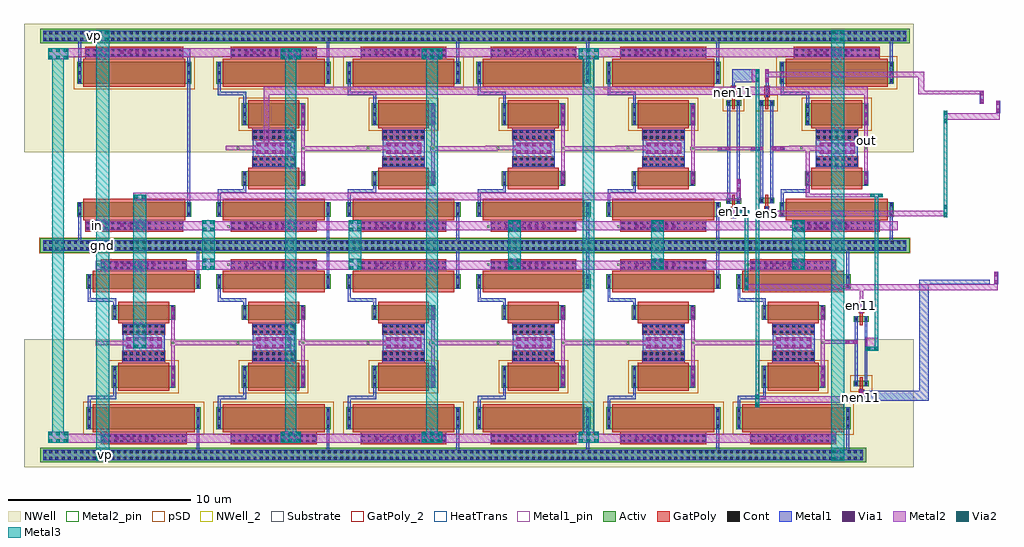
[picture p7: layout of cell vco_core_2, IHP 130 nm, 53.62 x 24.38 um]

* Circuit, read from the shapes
.subckt vco_core_2 en11 en5 gnd in nen11 nen5 out vp
XM1 vco_delay_cell_2_10/pgt in gnd gnd sg13_lv_nmos w=0.8u l=5.6u
XM2 gnd in n1 gnd sg13_lv_nmos w=0.8u l=5.6u
XM3 vco_delay_cell_2_10/in vco_delay_cell_2_12/in n1 gnd sg13_lv_nmos w=0.8u l=2.8u
XM4 gnd in n2 gnd sg13_lv_nmos w=0.8u l=5.6u
XM5 gnd in n3 gnd sg13_lv_nmos w=0.8u l=5.6u
XM6 vco_delay_cell_2_11/in vco_delay_cell_2_10/in n2 gnd sg13_lv_nmos w=0.8u l=2.8u
XM7 vco_delay_cell_2_16/in out n3 gnd sg13_lv_nmos w=0.8u l=2.8u
XM8 gnd in n4 gnd sg13_lv_nmos w=0.8u l=5.6u
XM9 gnd in n5 gnd sg13_lv_nmos w=0.8u l=5.6u
XM10 vco_delay_cell_2_9/in vco_delay_cell_2_11/in n4 gnd sg13_lv_nmos w=0.8u l=2.8u
XM11 vco_delay_cell_2_17/in vco_delay_cell_2_16/in n5 gnd sg13_lv_nmos w=0.8u l=2.8u
XM12 gnd in n6 gnd sg13_lv_nmos w=0.8u l=5.6u
XM13 gnd in n7 gnd sg13_lv_nmos w=0.8u l=5.6u
XM14 vco_delay_cell_2_8/in vco_delay_cell_2_9/in n6 gnd sg13_lv_nmos w=0.8u l=2.8u
XM15 vco_delay_cell_2_15/in vco_delay_cell_2_17/in n7 gnd sg13_lv_nmos w=0.8u l=2.8u
XM16 gnd in n8 gnd sg13_lv_nmos w=0.8u l=5.6u
XM17 gnd in n9 gnd sg13_lv_nmos w=0.8u l=5.6u
XM18 vco_delay_cell_2_18/in vco_delay_cell_2_8/in n8 gnd sg13_lv_nmos w=0.8u l=2.8u
XM19 vco_delay_cell_2_15/out vco_delay_cell_2_15/in n9 gnd sg13_lv_nmos w=0.8u l=2.8u
XM20 vco_delay_cell_2_12/in en11 vco_delay_cell_2_15/out gnd sg13_lv_nmos w=0.3u l=0.15u
XM21 gnd in n10 gnd sg13_lv_nmos w=0.8u l=5.6u
XM22 vco_delay_cell_2_14/in en5 vco_delay_cell_2_15/out gnd sg13_lv_nmos w=0.3u l=0.15u
XM23 vco_delay_cell_2_18/out vco_delay_cell_2_18/in n10 gnd sg13_lv_nmos w=0.8u l=2.8u
XM24 gnd in n11 gnd sg13_lv_nmos w=0.8u l=5.6u
XM25 out vco_delay_cell_2_14/in n11 gnd sg13_lv_nmos w=0.8u l=2.8u
XM26 vco_delay_cell_2_14/in en11 vco_delay_cell_2_18/out gnd sg13_lv_nmos w=0.3u l=0.15u
XM27 vco_delay_cell_2_10/pgt vco_delay_cell_2_10/pgt vp vp sg13_lv_pmos w=1.2u l=5.6u
XM28 vp vco_delay_cell_2_10/pgt n12 vp sg13_lv_pmos w=1.2u l=5.6u
XM29 vco_delay_cell_2_10/in vco_delay_cell_2_12/in n12 vp sg13_lv_pmos w=1.2u l=2.8u
XM30 vp vco_delay_cell_2_10/pgt n13 vp sg13_lv_pmos w=1.2u l=5.6u
XM31 vp vco_delay_cell_2_10/pgt n14 vp sg13_lv_pmos w=1.2u l=5.6u
XM32 vco_delay_cell_2_11/in vco_delay_cell_2_10/in n13 vp sg13_lv_pmos w=1.2u l=2.8u
XM33 vco_delay_cell_2_16/in out n14 vp sg13_lv_pmos w=1.2u l=2.8u
XM34 vp vco_delay_cell_2_10/pgt n15 vp sg13_lv_pmos w=1.2u l=5.6u
XM35 vp vco_delay_cell_2_10/pgt n16 vp sg13_lv_pmos w=1.2u l=5.6u
XM36 vco_delay_cell_2_9/in vco_delay_cell_2_11/in n15 vp sg13_lv_pmos w=1.2u l=2.8u
XM37 vco_delay_cell_2_17/in vco_delay_cell_2_16/in n16 vp sg13_lv_pmos w=1.2u l=2.8u
XM38 vp vco_delay_cell_2_10/pgt n17 vp sg13_lv_pmos w=1.2u l=5.6u
XM39 vp vco_delay_cell_2_10/pgt n18 vp sg13_lv_pmos w=1.2u l=5.6u
XM40 vco_delay_cell_2_8/in vco_delay_cell_2_9/in n17 vp sg13_lv_pmos w=1.2u l=2.8u
XM41 vco_delay_cell_2_15/in vco_delay_cell_2_17/in n18 vp sg13_lv_pmos w=1.2u l=2.8u
XM42 vp vco_delay_cell_2_10/pgt n19 vp sg13_lv_pmos w=1.2u l=5.6u
XM43 vp vco_delay_cell_2_10/pgt n20 vp sg13_lv_pmos w=1.2u l=5.6u
XM44 vco_delay_cell_2_18/in vco_delay_cell_2_8/in n19 vp sg13_lv_pmos w=1.2u l=2.8u
XM45 vco_delay_cell_2_15/out vco_delay_cell_2_15/in n20 vp sg13_lv_pmos w=1.2u l=2.8u
XM46 vco_delay_cell_2_12/in nen11 vco_delay_cell_2_15/out vp sg13_lv_pmos w=0.3u l=0.15u
XM47 vp vco_delay_cell_2_10/pgt n21 vp sg13_lv_pmos w=1.2u l=5.6u
XM48 vco_delay_cell_2_14/in nen5 vco_delay_cell_2_15/out vp sg13_lv_pmos w=0.3u l=0.15u
XM49 vco_delay_cell_2_18/out vco_delay_cell_2_18/in n21 vp sg13_lv_pmos w=1.2u l=2.8u
XM50 vp vco_delay_cell_2_10/pgt n22 vp sg13_lv_pmos w=1.2u l=5.6u
XM51 out vco_delay_cell_2_14/in n22 vp sg13_lv_pmos w=1.2u l=2.8u
XM52 vco_delay_cell_2_14/in nen11 vco_delay_cell_2_18/out vp sg13_lv_pmos w=0.3u l=0.15u
.ends

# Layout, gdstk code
from math import pi, radians
import gdstk
lib = gdstk.Library(unit=1e-6, precision=1e-09)
def R(c, l, rs):  # rectangles x0, y0, x1, y1
    for r in rs: c.add(gdstk.rectangle(r[:2], r[2:], *l))
def A(c, l, x, y, w, h, nx, ny, dx, dy):  # array of equal rectangles
    R(c, l, [(x+i*dx, y+j*dy, x+i*dx+w, y+j*dy+h) for i in range(nx) for j in range(ny)])
Activ = (1, 0)
GatPoly = (5, 0)
GatPoly_2 = (5, 2)
Cont = (6, 0)
Metal1 = (8, 0)
Metal1_pin = (8, 2)
Metal2 = (10, 0)
Metal2_pin = (10, 2)
pSD = (14, 0)
Via1 = (19, 0)
Via2 = (29, 0)
Metal3 = (30, 0)
NWell = (31, 0)
NWell_2 = (31, 2)
Substrate = (40, 0)
HeatTrans = (51, 0)

ptap1_14 = lib.new_cell('ptap1$14')
R(ptap1_14, Activ, [(0,0,2,0.78)])
A(ptap1_14, Cont, 0.07, 0.14, 0.16, 0.16, 6, 2, 0.34, 0.34)
R(ptap1_14, Metal1, [(0.07,0.09,1.93,0.69), (0.07,0.14,1.93,0.64)])
R(ptap1_14, Metal1_pin, [(0.07,0.14,1.93,0.64)])
R(ptap1_14, pSD, [(-0.03,-0.03,2.03,0.81)])
R(ptap1_14, Substrate, [(0,0,2,0.78)])
ptap1_14.add(gdstk.Label('sub!', (1,0.01), layer=63, texttype=0))
ptap1_14.add(gdstk.Label('sub!', (1,0.01), layer=40, texttype=0))

ptap1_3 = lib.new_cell('ptap1$3')
R(ptap1_3, Activ, [(0,0,9,0.78)])
A(ptap1_3, Cont, 0.17, 0.14, 0.16, 0.16, 26, 2, 0.34, 0.34)
R(ptap1_3, Metal1, [(0.17,0.09,8.83,0.69), (0.17,0.14,8.83,0.64)])
R(ptap1_3, Metal1_pin, [(0.17,0.14,8.83,0.64)])
R(ptap1_3, pSD, [(-0.03,-0.03,9.03,0.81)])
R(ptap1_3, Substrate, [(0,0,9,0.78)])
ptap1_3.add(gdstk.Label('sub!', (4.5,0.01), layer=63, texttype=0))
ptap1_3.add(gdstk.Label('sub!', (4.5,0.01), layer=40, texttype=0))

via_14 = lib.new_cell('Via$14')
R(via_14, Metal2, [(-0.35,-0.305,0.35,0.305)])
R(via_14, Via2, [(-0.3,-0.3,-0.11,-0.11), (0.11,-0.3,0.3,-0.11), (-0.3,0.11,-0.11,0.3), (0.11,0.11,0.3,0.3)])
R(via_14, Metal3, [(-0.35,-0.305,0.35,0.305)])

via_15_5 = lib.new_cell('Via$15$5')
R(via_15_5, GatPoly, [(-2.36,-0.32,2.36,0.32)])
A(via_15_5, Cont, -2.29, -0.25, 0.16, 0.16, 14, 2, 0.34, 0.34)
R(via_15_5, Metal1, [(-2.34,-0.25,2.34,0.25)])

via_7_10 = lib.new_cell('Via$7$10')
R(via_7_10, Metal1, [(-0.555,-0.105,0.555,0.105)])
R(via_7_10, Metal2, [(-0.555,-0.1,0.555,0.1)])
A(via_7_10, Via1, -0.505, -0.095, 0.19, 0.19, 3, 1, 0.41, 0)

pmos_2_8 = lib.new_cell('pmos$2$8')
R(pmos_2_8, Activ, [(0,0,0.3,0.3), (0,0,3.48,1.2), (3.18,0,3.48,0.3)])
R(pmos_2_8, GatPoly, [(0.34,-0.18,3.14,1.38), (0.34,-0.18,3.14,1.38)])
A(pmos_2_8, Cont, 0.07, 0.07, 0.16, 0.16, 1, 3, 0, 0.45)
A(pmos_2_8, Cont, 3.25, 0.07, 0.16, 0.16, 1, 3, 0, 0.45)
R(pmos_2_8, Metal1, [(0.07,0,0.23,1.2), (0.07,0,0.23,1.2), (3.25,0,3.41,1.2), (3.25,0,3.41,1.2)])
R(pmos_2_8, pSD, [(-0.18,-0.3,3.66,1.5)])
R(pmos_2_8, NWell, [(-0.31,-0.31,3.79,1.51)])
R(pmos_2_8, HeatTrans, [(0.34,-0.18,3.14,1.38)])
pmos_2_8.add(gdstk.Label('pmos', (1.74,0.6), layer=63, texttype=0))
pmos_2_8.add(gdstk.Label('pmos', (1.74,0.6), layer=51, texttype=0))

via_12_5 = lib.new_cell('Via$12$5')
R(via_12_5, GatPoly, [(-1.17,-0.32,1.17,0.32)])
A(via_12_5, Cont, -1.1, -0.25, 0.16, 0.16, 7, 2, 0.34, 0.34)
R(via_12_5, Metal1, [(-1.15,-0.25,1.15,0.25)])

ntap1_2_4 = lib.new_cell('ntap1$2$4')
R(ntap1_2_4, Activ, [(0,0,8,0.78)])
A(ntap1_2_4, Cont, 0.18, 0.14, 0.16, 0.16, 23, 2, 0.34, 0.34)
R(ntap1_2_4, Metal1, [(0.18,0.09,7.82,0.69)])
R(ntap1_2_4, Metal1_pin, [(0.18,0.09,7.82,0.69), (0.18,0.14,7.82,0.64)])
R(ntap1_2_4, NWell, [(-0.24,-0.24,8.24,1.02), (0,0,8,0.78)])
R(ntap1_2_4, NWell_2, [(0,0,8,0.78)])
ntap1_2_4.add(gdstk.Label('well', (4,0.01), layer=63, texttype=0))
ntap1_2_4.add(gdstk.Label('well', (4,0.01), layer=31, texttype=0))

via_8_9 = lib.new_cell('Via$8$9')
R(via_8_9, Metal1, [(-0.965,-0.31,0.965,0.31)])
R(via_8_9, Metal2, [(-0.965,-0.305,0.965,0.305)])
A(via_8_9, Via1, -0.915, -0.3, 0.19, 0.19, 5, 2, 0.41, 0.41)

nmos_5 = lib.new_cell('nmos$5')
R(nmos_5, Activ, [(0,0,0.3,0.3), (0,0,6.28,0.8), (5.98,0,6.28,0.3)])
R(nmos_5, GatPoly, [(0.34,-0.18,5.94,0.98)])
R(nmos_5, GatPoly_2, [(0.34,-0.18,5.94,0.98)])
R(nmos_5, Cont, [(0.07,0.07,0.23,0.23), (6.05,0.07,6.21,0.23), (0.07,0.57,0.23,0.73), (6.05,0.57,6.21,0.73)])
R(nmos_5, Metal1, [(0.07,0,0.23,0.8), (6.05,0,6.21,0.8)])
R(nmos_5, Metal1_pin, [(0.07,0,0.23,0.8), (6.05,0,6.21,0.8)])
R(nmos_5, HeatTrans, [(0.34,-0.18,5.94,0.98)])
nmos_5.add(gdstk.Label('nmos', (3.14,0.4), layer=63, texttype=0))
nmos_5.add(gdstk.Label('nmos', (3.14,0.4), layer=51, texttype=0))

pmos_6_3 = lib.new_cell('pmos$6$3')
R(pmos_6_3, Activ, [(0,0,0.3,0.3), (0,0,6.28,1.2), (5.98,0,6.28,0.3)])
R(pmos_6_3, GatPoly, [(0.34,-0.18,5.94,1.38), (0.34,-0.18,5.94,1.38)])
A(pmos_6_3, Cont, 0.07, 0.07, 0.16, 0.16, 1, 3, 0, 0.45)
A(pmos_6_3, Cont, 6.05, 0.07, 0.16, 0.16, 1, 3, 0, 0.45)
R(pmos_6_3, Metal1, [(0.07,0,0.23,1.2), (0.07,0,0.23,1.2), (6.05,0,6.21,1.2), (6.05,0,6.21,1.2)])
R(pmos_6_3, pSD, [(-0.18,-0.3,6.46,1.5)])
R(pmos_6_3, NWell, [(-0.31,-0.31,6.59,1.51)])
R(pmos_6_3, HeatTrans, [(0.34,-0.18,5.94,1.38)])
pmos_6_3.add(gdstk.Label('pmos', (3.14,0.6), layer=63, texttype=0))
pmos_6_3.add(gdstk.Label('pmos', (3.14,0.6), layer=51, texttype=0))

via_11_1 = lib.new_cell('Via$11$1')
R(via_11_1, Metal1, [(-0.35,-0.105,0.35,0.105)])
R(via_11_1, Metal2, [(-0.35,-0.1,0.35,0.1)])
R(via_11_1, Via1, [(-0.3,-0.095,-0.11,0.095), (0.11,-0.095,0.3,0.095)])

nmos_4_3 = lib.new_cell('nmos$4$3')
R(nmos_4_3, Activ, [(0,0,0.3,0.3), (0,0,3.48,0.8), (3.18,0,3.48,0.3)])
R(nmos_4_3, GatPoly, [(0.34,-0.18,3.14,0.98)])
R(nmos_4_3, GatPoly_2, [(0.34,-0.18,3.14,0.98)])
R(nmos_4_3, Cont, [(0.07,0.07,0.23,0.23), (3.25,0.07,3.41,0.23), (0.07,0.57,0.23,0.73), (3.25,0.57,3.41,0.73)])
R(nmos_4_3, Metal1, [(0.07,0,0.23,0.8), (3.25,0,3.41,0.8)])
R(nmos_4_3, Metal1_pin, [(0.07,0,0.23,0.8), (3.25,0,3.41,0.8)])
R(nmos_4_3, HeatTrans, [(0.34,-0.18,3.14,0.98)])
nmos_4_3.add(gdstk.Label('nmos', (1.74,0.4), layer=63, texttype=0))
nmos_4_3.add(gdstk.Label('nmos', (1.74,0.4), layer=51, texttype=0))

via_14_5_1 = lib.new_cell('Via$14$5$1')
R(via_14_5_1, Metal1, [(-1.17,-0.105,1.17,0.105)])
R(via_14_5_1, Metal2, [(-1.17,-0.1,1.17,0.1)])
A(via_14_5_1, Via1, -1.12, -0.095, 0.19, 0.19, 6, 1, 0.41, 0)

ptap1_2_4 = lib.new_cell('ptap1$2$4')
R(ptap1_2_4, Activ, [(0,0,8,0.78)])
A(ptap1_2_4, Cont, 0.18, 0.14, 0.16, 0.16, 23, 2, 0.34, 0.34)
R(ptap1_2_4, Metal1, [(0.18,0.09,7.82,0.69), (0.18,0.14,7.82,0.64)])
R(ptap1_2_4, Metal1_pin, [(0.18,0.14,7.82,0.64)])
R(ptap1_2_4, pSD, [(-0.03,-0.03,8.03,0.81)])
R(ptap1_2_4, Substrate, [(0,0,8,0.78)])
ptap1_2_4.add(gdstk.Label('sub!', (4,0.01), layer=63, texttype=0))
ptap1_2_4.add(gdstk.Label('sub!', (4,0.01), layer=40, texttype=0))

vco_delay_cell_2 = lib.new_cell('vco_delay_cell_2')
R(vco_delay_cell_2, Metal1, [(4.15,-4.85,4.31,-3.55), (0.02,-4.32,0.14,-3.82), (0.14,-4.32,0.48,-3.82), (-1.83,-2.77,-1.67,-2.195), (-1.83,-2.25,-0.43,-2.06), (-0.43,-2.25,-0.27,-1.87), (0.1,-0.82,2.4,1.21), (-0.43,2.13,-0.27,3.16), (-1.83,3.105,-1.67,3.97), (-1.825,3.105,-0.27,3.295), (4.15,4.71,4.31,6.27)])
R(vco_delay_cell_2, Metal1_pin, [(0.705,-5.08,0.835,-4.95), (0.335,6.315,0.465,6.445)])
R(vco_delay_cell_2, Metal2, [(-1.4,-4.32,-0.51,-3.82), (-0.52,-4.32,3.55,-3.82), (2.755,-1.76,2.955,0.57), (2.755,-0.16,2.955,1.48), (-1.38,0.07,0.95,0.32), (-1.45,5.19,3.55,5.69)])
R(vco_delay_cell_2, Metal2_pin, [(-1.31,-4.18,-1.18,-4.05), (2.795,0.13,2.925,0.26), (-0.775,0.135,-0.645,0.265), (-0.495,5.41,-0.365,5.54)])
R(vco_delay_cell_2, NWell, [(-3,0.195,5.48,7.04), (-1.56,0.29,2.98,5.31)])
vco_delay_cell_2.add(gdstk.Reference(via_15_5, (1.24,5.44)))
vco_delay_cell_2.add(gdstk.Reference(via_7_10, (2.855,2.015), rotation=pi/2))
vco_delay_cell_2.add(gdstk.Reference(pmos_2_8, (-0.5,1.46)))
vco_delay_cell_2.add(gdstk.Reference(via_15_5, (1.24,-4.07)))
vco_delay_cell_2.add(gdstk.Reference(via_12_5, (1.25,0.96)))
vco_delay_cell_2.add(gdstk.Reference(ntap1_2_4, (-2.76,5.97)))
vco_delay_cell_2.add(gdstk.Reference(via_12_5, (1.25,-0.57)))
vco_delay_cell_2.add(gdstk.Reference(via_8_9, (1.26,0.2)))
vco_delay_cell_2.add(gdstk.Reference(nmos_5, (-1.9,-3.57)))
vco_delay_cell_2.add(gdstk.Reference(pmos_6_3, (-1.9,3.74)))
vco_delay_cell_2.add(gdstk.Reference(via_11_1, (2.855,-1.42), rotation=pi/2))
vco_delay_cell_2.add(gdstk.Reference(nmos_4_3, (-0.5,-1.87)))
vco_delay_cell_2.add(gdstk.Reference(via_14_5_1, (0.8,-4.1)))
vco_delay_cell_2.add(gdstk.Reference(via_14_5_1, (0.8,5.44)))
vco_delay_cell_2.add(gdstk.Reference(ptap1_2_4, (-2.76,-5.54)))
vco_delay_cell_2.add(gdstk.Label('out', (2.86,0.18), layer=10, texttype=25))
vco_delay_cell_2.add(gdstk.Label('in', (-0.71,0.2), layer=10, texttype=25))
vco_delay_cell_2.add(gdstk.Label('ngt', (-1.24,-4.11), layer=10, texttype=25))
vco_delay_cell_2.add(gdstk.Label('pgt', (-0.43,5.48), layer=10, texttype=25))
vco_delay_cell_2.add(gdstk.Label('gnd', (0.77,-5.01), layer=8, texttype=25))
vco_delay_cell_2.add(gdstk.Label('vp', (0.4,6.38), layer=8, texttype=25))

ntap1_13 = lib.new_cell('ntap1$13')
R(ntap1_13, Activ, [(0,0,2,0.78)])
A(ntap1_13, Cont, 0.07, 0.14, 0.16, 0.16, 6, 2, 0.34, 0.34)
R(ntap1_13, Metal1, [(0.07,0.09,1.93,0.69)])
R(ntap1_13, Metal1_pin, [(0.07,0.09,1.93,0.69), (0.07,0.14,1.93,0.64)])
R(ntap1_13, NWell, [(-0.24,-0.24,2.24,1.02), (0,0,2,0.78)])
R(ntap1_13, NWell_2, [(0,0,2,0.78)])
ntap1_13.add(gdstk.Label('well', (1,0.01), layer=63, texttype=0))
ntap1_13.add(gdstk.Label('well', (1,0.01), layer=31, texttype=0))

ntap1_6_5 = lib.new_cell('ntap1$6$5')
R(ntap1_6_5, Activ, [(0,0,6,0.78)])
A(ntap1_6_5, Cont, 0.2, 0.14, 0.16, 0.16, 17, 2, 0.34, 0.34)
R(ntap1_6_5, Metal1, [(0.2,0.09,5.8,0.69)])
R(ntap1_6_5, Metal1_pin, [(0.2,0.09,5.8,0.69), (0.2,0.14,5.8,0.64)])
R(ntap1_6_5, NWell, [(-0.24,-0.24,6.24,1.02), (0,0,6,0.78)])
R(ntap1_6_5, NWell_2, [(0,0,6,0.78)])
ntap1_6_5.add(gdstk.Label('well', (3,0.01), layer=63, texttype=0))
ntap1_6_5.add(gdstk.Label('well', (3,0.01), layer=31, texttype=0))

via_15_10 = lib.new_cell('Via$15$10')
R(via_15_10, Metal2, [(-0.555,-0.305,0.555,0.305)])
A(via_15_10, Via2, -0.505, -0.3, 0.19, 0.19, 3, 2, 0.41, 0.41)
R(via_15_10, Metal3, [(-0.555,-0.305,0.555,0.305)])

via_19 = lib.new_cell('Via$19')
R(via_19, Metal1, [(-0.35,-0.31,0.35,0.31)])
R(via_19, Metal2, [(-0.35,-0.305,0.35,0.305)])
R(via_19, Via1, [(-0.3,-0.3,-0.11,-0.11), (0.11,-0.3,0.3,-0.11), (-0.3,0.11,-0.11,0.3), (0.11,0.11,0.3,0.3)])

via_16_11 = lib.new_cell('Via$16$11')
R(via_16_11, Metal1, [(-0.35,-0.105,0.35,0.105)])
R(via_16_11, Metal2, [(-0.35,-0.1,0.35,0.1)])
R(via_16_11, Via1, [(-0.3,-0.095,-0.11,0.095), (0.11,-0.095,0.3,0.095)])

via_18_7 = lib.new_cell('Via$18$7')
R(via_18_7, Metal2, [(-0.35,-0.1,0.35,0.1)])
R(via_18_7, Via2, [(-0.3,-0.095,-0.11,0.095), (0.11,-0.095,0.3,0.095)])
R(via_18_7, Metal3, [(-0.35,-0.1,0.35,0.1)])

nmos_14 = lib.new_cell('nmos$14')
R(nmos_14, Activ, [(0,0,0.3,0.3), (0,0,0.83,0.3), (0.53,0,0.83,0.3)])
R(nmos_14, GatPoly, [(0.34,-0.18,0.49,0.48)])
R(nmos_14, GatPoly_2, [(0.34,-0.18,0.49,0.48)])
R(nmos_14, Cont, [(0.07,0.07,0.23,0.23), (0.6,0.07,0.76,0.23)])
R(nmos_14, Metal1, [(0.07,0,0.23,0.3), (0.6,0,0.76,0.3)])
R(nmos_14, Metal1_pin, [(0.07,0,0.23,0.3), (0.6,0,0.76,0.3)])
R(nmos_14, HeatTrans, [(0.34,-0.18,0.49,0.48)])
nmos_14.add(gdstk.Label('nmos', (0.415,0.15), layer=63, texttype=0))
nmos_14.add(gdstk.Label('nmos', (0.415,0.15), layer=51, texttype=0))

pmos_20 = lib.new_cell('pmos$20')
R(pmos_20, Activ, [(0,0,0.3,0.3), (0,0,0.83,0.3), (0.53,0,0.83,0.3)])
R(pmos_20, GatPoly, [(0.34,-0.18,0.49,0.48), (0.34,-0.18,0.49,0.48)])
R(pmos_20, Cont, [(0.07,0.07,0.23,0.23), (0.6,0.07,0.76,0.23)])
R(pmos_20, Metal1, [(0.07,0,0.23,0.3), (0.07,0,0.23,0.3), (0.6,0,0.76,0.3), (0.6,0,0.76,0.3)])
R(pmos_20, pSD, [(-0.18,-0.3,1.01,0.6)])
R(pmos_20, NWell, [(-0.31,-0.31,1.14,0.61)])
R(pmos_20, HeatTrans, [(0.34,-0.18,0.49,0.48)])
pmos_20.add(gdstk.Label('pmos', (0.415,0.15), layer=63, texttype=0))
pmos_20.add(gdstk.Label('pmos', (0.415,0.15), layer=51, texttype=0))

via_17_1 = lib.new_cell('Via$17$1')
R(via_17_1, GatPoly, [(-0.15,-0.32,0.15,0.32)])
R(via_17_1, Cont, [(-0.08,-0.25,0.08,-0.09), (-0.08,0.09,0.08,0.25)])
R(via_17_1, Metal1, [(-0.08,-0.3,0.08,0.3)])

nmos_9_1 = lib.new_cell('nmos$9$1')
R(nmos_9_1, Activ, [(0,0,0.3,0.3), (0,0,6.28,0.8), (5.98,0,6.28,0.3)])
R(nmos_9_1, GatPoly, [(0.34,-0.18,5.94,0.98)])
R(nmos_9_1, GatPoly_2, [(0.34,-0.18,5.94,0.98)])
R(nmos_9_1, Cont, [(0.07,0.07,0.23,0.23), (6.05,0.07,6.21,0.23), (0.07,0.57,0.23,0.73), (6.05,0.57,6.21,0.73)])
R(nmos_9_1, Metal1, [(0.07,0,0.23,0.8), (6.05,0,6.21,0.8)])
R(nmos_9_1, Metal1_pin, [(0.07,0,0.23,0.8), (6.05,0,6.21,0.8)])
R(nmos_9_1, HeatTrans, [(0.34,-0.18,5.94,0.98)])
nmos_9_1.add(gdstk.Label('nmos', (3.14,0.4), layer=63, texttype=0))
nmos_9_1.add(gdstk.Label('nmos', (3.14,0.4), layer=51, texttype=0))

via_73 = lib.new_cell('Via$73')
R(via_73, GatPoly, [(-2.7,-0.32,2.7,0.32)])
A(via_73, Cont, -2.63, -0.25, 0.16, 0.16, 16, 2, 0.34, 0.34)
R(via_73, Metal1, [(-2.68,-0.25,2.68,0.25)])

via_12_12 = lib.new_cell('Via$12$12')
R(via_12_12, Metal1, [(-0.76,-0.105,0.76,0.105)])
R(via_12_12, Metal2, [(-0.76,-0.1,0.76,0.1)])
A(via_12_12, Via1, -0.71, -0.095, 0.19, 0.19, 4, 1, 0.41, 0)

pmos_3_5 = lib.new_cell('pmos$3$5')
R(pmos_3_5, Activ, [(0,0,0.3,0.3), (0,0,6.28,1.2), (5.98,0,6.28,0.3)])
R(pmos_3_5, GatPoly, [(0.34,-0.18,5.94,1.38), (0.34,-0.18,5.94,1.38)])
A(pmos_3_5, Cont, 0.07, 0.07, 0.16, 0.16, 1, 3, 0, 0.45)
A(pmos_3_5, Cont, 6.05, 0.07, 0.16, 0.16, 1, 3, 0, 0.45)
R(pmos_3_5, Metal1, [(0.07,0,0.23,1.2), (0.07,0,0.23,1.2), (6.05,0,6.21,1.2), (6.05,0,6.21,1.2)])
R(pmos_3_5, pSD, [(-0.18,-0.3,6.46,1.5)])
R(pmos_3_5, NWell, [(-0.31,-0.31,6.59,1.51)])
R(pmos_3_5, HeatTrans, [(0.34,-0.18,5.94,1.38)])
pmos_3_5.add(gdstk.Label('pmos', (3.14,0.6), layer=63, texttype=0))
pmos_3_5.add(gdstk.Label('pmos', (3.14,0.6), layer=51, texttype=0))

ntap1_5 = lib.new_cell('ntap1$5')
R(ntap1_5, Activ, [(0,0,9,0.78)])
A(ntap1_5, Cont, 0.17, 0.14, 0.16, 0.16, 26, 2, 0.34, 0.34)
R(ntap1_5, Metal1, [(0.17,0.09,8.83,0.69)])
R(ntap1_5, Metal1_pin, [(0.17,0.09,8.83,0.69), (0.17,0.14,8.83,0.64)])
R(ntap1_5, NWell, [(-0.24,-0.24,9.24,1.02), (0,0,9,0.78)])
R(ntap1_5, NWell_2, [(0,0,9,0.78)])
ntap1_5.add(gdstk.Label('well', (4.5,0.01), layer=63, texttype=0))
ntap1_5.add(gdstk.Label('well', (4.5,0.01), layer=31, texttype=0))

vco_core_2 = lib.new_cell('vco_core_2')
R(vco_core_2, Metal1, [(32.435,-14.055,36.215,-13.51), (35.69,-13.915,36.215,-7.395), (32.15,-13.1,32.31,-9.56), (32.68,-13.1,32.84,-9.56), (36.03,-7.645,39.57,-7.395), (-10.51,-5.43,-10.35,-3.9), (-4.53,-3.29,-4.37,4.19), (25.67,-3.15,25.83,2.22), (25.14,-3.145,25.3,2.22), (26.96,-3.13,27.12,2.22), (27.49,-3.13,27.65,2.22), (27.245,2.875,27.405,3.755), (25.4,3.055,25.56,3.665), (25.4,3.45,26.685,4.15), (-10.51,4.335,-10.35,5.995), (-4.53,4.395,-4.37,5.045), (-4.76,4.825,-4.37,5.325)])
R(vco_core_2, Metal1_pin, [(-9.075,-17.045,-8.945,-16.915), (32.445,-13.915,32.575,-13.785), (32.445,-8.86,32.575,-8.73), (-9.235,-5.605,-9.105,-5.475), (-9.235,-5.605,-9.105,-5.475), (27.27,-3.82,27.4,-3.69), (25.45,-3.72,25.58,-3.59), (25.42,2.8,25.55,2.93), (27.26,2.91,27.39,3.04), (-9.685,5.93,-9.555,6.06), (-9.685,5.93,-9.555,6.06)])
R(vco_core_2, Metal2, [(-11.97,-16.36,-9.46,-15.86), (-4.665,-16.36,30.77,-15.86), (4.11,-16.36,6.21,-15.86), (26.69,-14.15,28.56,-13.8), (28.56,-14.15,32.615,-13.8), (32.74,-11.09,33.44,-10.58), (-5.45,-10.99,-2.4,-10.74), (1.6,-10.99,5.33,-10.74), (8.76,-10.99,12.49,-10.74), (16.175,-10.99,20.1,-10.74), (23.145,-10.99,26.83,-10.74), (30.285,-10.93,32.28,-10.72), (30.285,-10.92,31.96,-10.72), (32.415,-9.21,32.615,-7.97), (26.09,-7.97,32.625,-7.66), (32.45,-7.97,40.01,-7.66), (-5.12,-6.85,30.3,-6.35), (-10.12,-4.69,-4.76,-4.19), (-5.12,-4.69,34.5,-4.19), (27.325,-3.91,37.135,-3.62), (25.565,-3.775,26.17,-3.575), (-7.49,-3.045,25.865,-2.63), (29.89,-2.87,33.68,-2.67), (25.665,-2.86,25.865,-2.59), (29.46,-0.9,29.66,-0.06), (1.72,-0.31,6.11,-0.06), (8.81,-0.31,12.54,-0.06), (16.005,-0.31,20.01,-0.06), (27.64,-0.31,30.87,-0.06), (23.09,-0.3,25.545,-0.1), (23.715,-0.3,26.825,-0.1), (-0.34,-0.105,-0.02,3.09), (37.125,1.39,40.115,1.74), (32.665,2.15,32.865,3.21), (-0.34,2.77,32.7,3.21), (35.64,2.785,35.95,4.035), (35.745,2.785,39.225,2.985), (26.495,3.45,26.89,4.15), (27.405,3.73,35.95,4.035), (-4.79,4.82,33.49,5.32), (4.11,4.82,6.21,5.32), (-11.97,4.825,-9.87,5.325), (-10.12,4.825,-4.76,5.325)])
R(vco_core_2, Metal2_pin, [(-9.515,-4.505,-9.385,-4.375), (-9.515,-4.505,-9.385,-4.375), (32.705,0.165,32.835,0.295)])
R(vco_core_2, Metal3, [(-9.53,-17.085,-8.83,5.975), (30.855,-17.085,31.555,5.975), (0.84,-16.225,1.47,5.18), (-11.935,-16.205,-11.305,5.18), (8.6,-16.155,9.23,5.18), (17.21,-16.125,17.84,5.18), (26.69,-14.395,26.89,3.595), (-7.49,-11.16,-6.79,-2.93), (26.09,-7.415,26.29,-3.715), (-3.72,-6.66,-3.02,-4.35), (4.34,-6.66,5.04,-4.35), (13.1,-6.66,13.8,-4.35), (20.96,-6.66,21.66,-4.35), (28.7,-6.66,29.4,-4.35), (37.035,-3.89,37.235,1.545)])
R(vco_core_2, NWell, [(-13.5,-17.71,-8.91,-10.66), (-8.91,-17.71,35.37,-10.66), (-13.485,-0.385,35.39,6.67), (29.56,-0.01,34.44,6.67)])
vco_core_2.add(gdstk.FlexPath([(29.89,-2.77),(29.56,-2.77),(29.56,-0.73),(29.6,-0.73)], 0.2, ends="flush", simple_path=True, layer=10, datatype=0))  # Metal2
vco_core_2.add(gdstk.FlexPath([(33.33,-2.77),(33.33,-11.19)], 0.2, ends="flush", simple_path=True, layer=30, datatype=0))  # Metal3
vco_core_2.add(gdstk.Reference(ptap1_14, (2.78,-5.91)))
vco_core_2.add(gdstk.Reference(ptap1_14, (9.92,-5.91)))
vco_core_2.add(gdstk.Reference(ptap1_14, (17.4,-5.91)))
vco_core_2.add(gdstk.Reference(ptap1_14, (24.2,-5.91)))
vco_core_2.add(gdstk.Reference(ptap1_14, (-4.7,-5.91)))
vco_core_2.add(gdstk.Reference(ptap1_3, (-12.62,-5.91)))
vco_core_2.add(gdstk.Reference(via_14, (13.45,-4.43)))
vco_core_2.add(gdstk.Reference(via_14, (13.45,-6.55)))
vco_core_2.add(gdstk.Reference(vco_delay_cell_2, (20.39,-10.67), x_reflection=True))
vco_core_2.add(gdstk.Reference(vco_delay_cell_2, (13.25,-10.67), x_reflection=True))
vco_core_2.add(gdstk.Reference(vco_delay_cell_2, (-1.03,-10.67), x_reflection=True))
vco_core_2.add(gdstk.Reference(vco_delay_cell_2, (6.11,-10.67), x_reflection=True))
vco_core_2.add(gdstk.Reference(vco_delay_cell_2, (-8.17,-10.67), x_reflection=True))
vco_core_2.add(gdstk.Reference(vco_delay_cell_2, (-1.03,-0.37)))
vco_core_2.add(gdstk.Reference(vco_delay_cell_2, (29.91,-0.37)))
vco_core_2.add(gdstk.Reference(vco_delay_cell_2, (20.39,-0.37)))
vco_core_2.add(gdstk.Reference(vco_delay_cell_2, (6.11,-0.37)))
vco_core_2.add(gdstk.Reference(vco_delay_cell_2, (13.25,-0.37)))
vco_core_2.add(gdstk.Reference(vco_delay_cell_2, (27.53,-10.67), x_reflection=True))
vco_core_2.add(gdstk.Reference(ntap1_13, (17.4,5.6)))
vco_core_2.add(gdstk.Reference(ntap1_6_5, (24.07,5.6)))
vco_core_2.add(gdstk.Reference(via_14, (21.31,-4.43)))
vco_core_2.add(gdstk.Reference(via_14, (29.05,-4.43)))
vco_core_2.add(gdstk.Reference(via_15_10, (17.52,5.015)))
vco_core_2.add(gdstk.Reference(via_14, (31.205,6)))
vco_core_2.add(gdstk.Reference(via_19, (31.205,6)))
vco_core_2.add(gdstk.Reference(via_16_11, (25.585,-3.67), rotation=pi))
vco_core_2.add(gdstk.Reference(via_18_7, (25.995,-3.675), rotation=pi))
vco_core_2.add(gdstk.Reference(via_16_11, (27.23,-3.745), rotation=pi))
vco_core_2.add(gdstk.Reference(via_16_11, (27.32,3.805), rotation=pi/2))
vco_core_2.add(gdstk.Reference(via_18_7, (37.135,-3.62), rotation=pi/2))
vco_core_2.add(gdstk.Reference(via_18_7, (37.135,1.545), rotation=pi/2))
vco_core_2.add(gdstk.Reference(via_16_11, (40.015,2.09), rotation=pi/2))
vco_core_2.add(gdstk.Reference(via_16_11, (39.125,2.62), rotation=pi/2))
vco_core_2.add(gdstk.Reference(via_16_11, (26.79,3.8), rotation=pi/2))
vco_core_2.add(gdstk.Reference(via_18_7, (26.79,3.8), rotation=pi/2))
vco_core_2.add(gdstk.Reference(nmos_14, (25.07,-3.22)))
vco_core_2.add(gdstk.Reference(pmos_20, (25.07,2.15)))
vco_core_2.add(gdstk.Reference(nmos_14, (26.89,-3.2)))
vco_core_2.add(gdstk.Reference(via_16_11, (24.95,-0.2)))
vco_core_2.add(gdstk.Reference(via_16_11, (26.77,-0.2)))
vco_core_2.add(gdstk.Reference(via_17_1, (25.485,-3.71)))
vco_core_2.add(gdstk.Reference(via_17_1, (27.305,-3.685)))
vco_core_2.add(gdstk.Reference(via_17_1, (25.48,2.925)))
vco_core_2.add(gdstk.Reference(via_17_1, (27.32,2.94)))
vco_core_2.add(gdstk.Reference(via_16_11, (25.765,-2.24), rotation=pi/2))
vco_core_2.add(gdstk.Reference(pmos_20, (26.89,2.15)))
vco_core_2.add(gdstk.Reference(via_18_7, (33.33,-2.77)))
vco_core_2.add(gdstk.Reference(via_16_11, (27.94,-0.18)))
vco_core_2.add(gdstk.Reference(via_14, (4.69,-4.43)))
vco_core_2.add(gdstk.Reference(via_15_10, (1.15,5.015)))
vco_core_2.add(gdstk.Reference(nmos_9_1, (-10.58,-3.94)))
vco_core_2.add(gdstk.Reference(via_18_7, (-7.14,-2.83)))
vco_core_2.add(gdstk.Reference(via_73, (-7.44,-4.44)))
vco_core_2.add(gdstk.Reference(via_15_10, (-11.62,5.02)))
vco_core_2.add(gdstk.Reference(via_15_10, (8.91,5.015)))
vco_core_2.add(gdstk.Reference(via_12_12, (-7.49,-4.4)))
vco_core_2.add(gdstk.Reference(ntap1_13, (9.92,5.6)))
vco_core_2.add(gdstk.Reference(pmos_3_5, (-10.58,3.37)))
vco_core_2.add(gdstk.Reference(via_14, (-9.18,6)))
vco_core_2.add(gdstk.Reference(via_19, (-9.18,6)))
vco_core_2.add(gdstk.Reference(via_73, (-7.44,5.07)))
vco_core_2.add(gdstk.Reference(via_12_12, (-7.49,5.11)))
vco_core_2.add(gdstk.Reference(ntap1_5, (-11.6,5.6)))
vco_core_2.add(gdstk.Reference(ntap1_5, (-12.62,5.6)))
vco_core_2.add(gdstk.Reference(ntap1_13, (2.78,5.6)))
vco_core_2.add(gdstk.Reference(via_14, (-3.37,-4.43)))
vco_core_2.add(gdstk.Reference(ntap1_5, (-12.62,-17.42)))
vco_core_2.add(gdstk.Reference(ntap1_13, (2.78,-17.42)))
vco_core_2.add(gdstk.Reference(via_18_7, (-7.14,-11.06)))
vco_core_2.add(gdstk.Reference(via_14, (-3.37,-6.55)))
vco_core_2.add(gdstk.Reference(via_15_10, (-11.62,-16.055)))
vco_core_2.add(gdstk.Reference(ntap1_13, (9.92,-17.42)))
vco_core_2.add(gdstk.Reference(via_15_10, (1.15,-16.055)))
vco_core_2.add(gdstk.Reference(via_14, (4.69,-6.55)))
vco_core_2.add(gdstk.Reference(via_15_10, (8.91,-16.055)))
vco_core_2.add(gdstk.Reference(ntap1_5, (-11.6,-17.42)))
vco_core_2.add(gdstk.Reference(via_19, (-9.18,-17.04)))
vco_core_2.add(gdstk.Reference(via_14, (-9.18,-17.04)))
vco_core_2.add(gdstk.Reference(ntap1_13, (28.28,-17.42)))
vco_core_2.add(gdstk.Reference(via_16_11, (32.515,-13.8), rotation=pi/2))
vco_core_2.add(gdstk.Reference(via_16_11, (39.91,-7.31), rotation=pi/2))
vco_core_2.add(gdstk.Reference(via_16_11, (32.515,-8.885), rotation=pi/2))
vco_core_2.add(gdstk.Reference(nmos_14, (32.08,-9.41), x_reflection=True))
vco_core_2.add(gdstk.Reference(pmos_20, (32.08,-12.95), x_reflection=True))
vco_core_2.add(gdstk.Reference(ntap1_13, (17.06,-17.42)))
vco_core_2.add(gdstk.Reference(ntap1_13, (18.42,-17.42)))
vco_core_2.add(gdstk.Reference(via_18_7, (26.785,-14.045), rotation=pi/2))
vco_core_2.add(gdstk.Reference(ntap1_13, (24.2,-17.42)))
vco_core_2.add(gdstk.Reference(via_16_11, (33.09,-11.19), x_reflection=True))
vco_core_2.add(gdstk.Reference(via_16_11, (31.96,-10.82), x_reflection=True))
vco_core_2.add(gdstk.Reference(via_17_1, (32.51,-8.935), x_reflection=True))
vco_core_2.add(gdstk.Reference(via_17_1, (32.51,-13.73), x_reflection=True))
vco_core_2.add(gdstk.Reference(via_19, (31.205,-17.04)))
vco_core_2.add(gdstk.Reference(via_14, (31.205,-17.04)))
vco_core_2.add(gdstk.Reference(via_18_7, (33.09,-11.19)))
vco_core_2.add(gdstk.Reference(via_15_10, (17.52,-16.055)))
vco_core_2.add(gdstk.Reference(via_14, (29.05,-6.55)))
vco_core_2.add(gdstk.Reference(ntap1_13, (20.46,-17.42)))
vco_core_2.add(gdstk.Reference(via_18_7, (26.19,-7.62), rotation=pi/2))
vco_core_2.add(gdstk.Reference(via_14, (21.31,-6.55)))
vco_core_2.add(gdstk.Label('out', (32.77,0.23), layer=10, texttype=25))
vco_core_2.add(gdstk.Label('in', (-9.45,-4.44), layer=10, texttype=25))
vco_core_2.add(gdstk.Label('in', (-9.45,-4.44), layer=10, texttype=25))
vco_core_2.add(gdstk.Label('vp', (-9.62,5.99), layer=8, texttype=25))
vco_core_2.add(gdstk.Label('gnd', (-9.17,-5.54), layer=8, texttype=25))
vco_core_2.add(gdstk.Label('vp', (-9.62,5.99), layer=8, texttype=25))
vco_core_2.add(gdstk.Label('vp', (-9.01,-16.98), layer=8, texttype=25))
vco_core_2.add(gdstk.Label('gnd', (-9.17,-5.54), layer=8, texttype=25))
vco_core_2.add(gdstk.Label('nen11', (25.48,2.87), layer=8, texttype=25))
vco_core_2.add(gdstk.Label('en11', (32.51,-8.795), layer=8, texttype=25))
vco_core_2.add(gdstk.Label('nen5', (27.32,2.98), layer=8, texttype=25))
vco_core_2.add(gdstk.Label('en5', (27.33,-3.75), layer=8, texttype=25))
vco_core_2.add(gdstk.Label('en11', (25.51,-3.65), layer=8, texttype=25))
vco_core_2.add(gdstk.Label('nen11', (32.51,-13.85), layer=8, texttype=25))

lib.write_gds('vco_core_2.gds')
